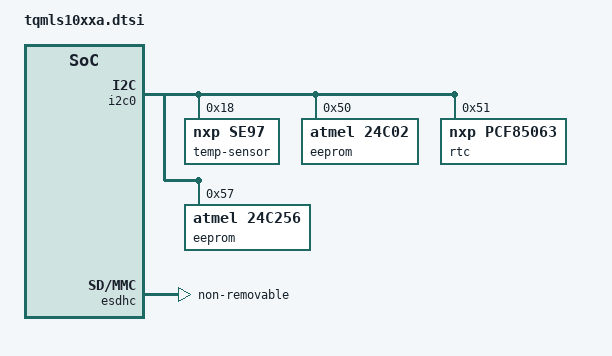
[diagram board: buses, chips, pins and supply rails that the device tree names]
// SPDX-License-Identifier: (GPL-2.0-or-later OR MIT)
/*
 * Copyright (c) 2018-2023 TQ-Systems GmbH <linux@ew.tq-group.com>,
 * D-82229 Seefeld, Germany.
 * Author: Gregor Herburger, Timo Herbrecher
 *
 * Device Tree Include file for TQMLs10xxA SoM of TQ
 */

&i2c0 {
	status = "okay";

	temp-sensor@18 {
		compatible = "nxp,se97", "jedec,jc-42.4-temp";
		reg = <0x18>;
	};

	eeprom@50 {
		compatible = "atmel,24c02";
		reg = <0x50>;
		read-only;
	};

	rtc@51 {
		compatible = "nxp,pcf85063";
		reg = <0x51>;
	};

	eeprom@57 {
		compatible = "atmel,24c256";
		reg = <0x57>;
	};
};

&esdhc {
	/* eSDHC or eMMC: set by bootloader */
	non-removable;
	disable-wp;
	mmc-hs200-1_8v;
	sd-uhs-sdr104;
	sd-uhs-sdr50;
	sd-uhs-sdr25;
	sd-uhs-sdr12;
};

